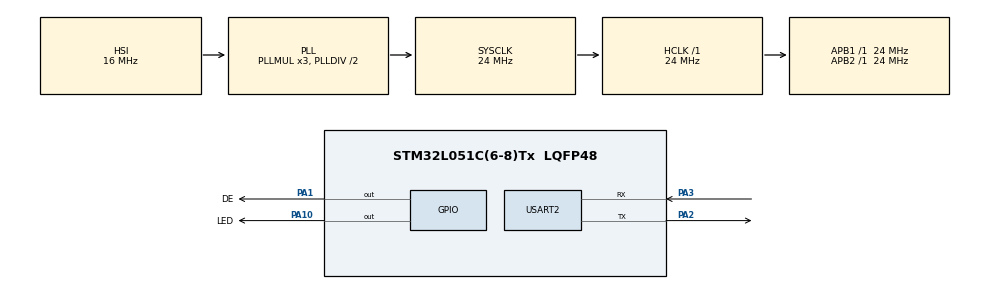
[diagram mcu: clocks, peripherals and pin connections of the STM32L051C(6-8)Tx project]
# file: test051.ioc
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CRC.DefaultPolynomialUse=DEFAULT_POLYNOMIAL_ENABLE
Mcu.Family=STM32L0
Mcu.Name=STM32L051C(6-8)Tx
Mcu.Package=LQFP48
PA1.GPIO_Label=DE
PA1.Signal=GPIO_Output
PA10.GPIO_Label=LED
PA10.Signal=GPIO_Output
PA13.Mode=Serial_Wire
PA13.Signal=SYS_SWDIO
PA14.Mode=Serial_Wire
PA14.Signal=SYS_SWCLK
PA2.GPIO_Speed=GPIO_SPEED_FREQ_LOW
PA2.Mode=Asynchronous
PA2.Signal=USART2_TX
PA3.GPIO_Speed=GPIO_SPEED_FREQ_LOW
PA3.Mode=Asynchronous
PA3.Signal=USART2_RX
ProjectManager.HeapSize=0x200
ProjectManager.StackSize=0x400
ProjectManager.TargetToolchain=STM32CubeIDE
RCC.AHBFreq_Value=24000000
RCC.APB1Freq_Value=24000000
RCC.APB1TimFreq_Value=24000000
RCC.APB2Freq_Value=24000000
RCC.APB2TimFreq_Value=24000000
RCC.HCLKFreq_Value=24000000
RCC.HSE_VALUE=8000000
RCC.HSI16_VALUE=16000000
RCC.HSI_VALUE=16000000
RCC.LSE_VALUE=32768
RCC.MSI_VALUE=2097000
RCC.SYSCLKFreq_VALUE=24000000
RCC.SYSCLKSource=RCC_SYSCLKSOURCE_PLLCLK
RCC.VCOOutputFreq_Value=48000000
USART2.VirtualMode-Asynchronous=VM_ASYNC
VP_CRC_VS_CRC.Mode=CRC_Activate
board=custom

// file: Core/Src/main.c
/* USER CODE BEGIN Header */
/**
  ******************************************************************************
  * @file           : main.c
  * @brief          : Main program body
  ******************************************************************************
  * @attention
  *
  * Copyright (c) 2024 STMicroelectronics.
  * All rights reserved.
  *
  * This software is licensed under terms that can be found in the LICENSE file
  * in the root directory of this software component.
  * If no LICENSE file comes with this software, it is provided AS-IS.
  *
  ******************************************************************************
  */
/* USER CODE END Header */
#include "main.h"
#include "crc.h"
#include "usart.h"
#include "gpio.h"

/* USER CODE BEGIN PTD */
typedef struct{
	uint32_t v[0x10];
} uninitBuff_t;

/* USER CODE END PTD */

/* USER CODE BEGIN PV */
//extern uint8_t _crc[];
uninitBuff_t *uninit;
extern const uint8_t _crcdata[4];
extern const uint8_t _edata[4];

uint32_t  __attribute__((section(".crcdata"))) crclocation;

/* USER CODE END PV */

void SystemClock_Config(void);

int main(void)
{
	/* application */

/* USER CODE BEGIN 1 */
//	rtc= *(uint32_t*)0xE000E010;// disable RTC interrupts
//*vectorTable= (uint32_t )AppAddr; // See Mitchell Jones, https://stackoverflow.com/a/58306399
uint32_t rtc;
uint32_t vtor;
extern char stackAddress[];
	vtor= SCB->VTOR;
	 uninit= (uninitBuff_t *) 0x20000000;

  /* USER CODE END 1 */

  /* MCU Configuration--------------------------------------------------------*/

  /* Reset of all peripherals, Initializes the Flash interface and the Systick. */
	  iwdgStart();
HAL_Init();

  /* Configure the system clock */
  SystemClock_Config();

  /* USER CODE BEGIN SysInit */
  uint32_t vtorreg= *(uint32_t*)0xE000ED08;
  /* USER CODE END SysInit */

  /* Initialize all configured peripherals */
  MX_GPIO_Init();
  MX_USART2_UART_Init();
  MX_CRC_Init();

  /* Infinite loop */
  /* USER CODE BEGIN WHILE */

 //uint32_t crc= *(uint32_t*)crclocation;
  //uint32_t crc2=  *(uint32_t*)_crcdata;
  //uint32_t ed =_edata;
  uint32_t *crcaddr=(uint32_t*)(stackAddress + 0xc0);

  // uint32_t c= *_crc;
  //uint32_t f= *(uint32_t*) _flashend;
  while (1)
  {
	  LED_GPIO_Port->BSRR= LED_Pin;
	  HAL_Delay(50);
	  LED_GPIO_Port->BRR= LED_Pin;
	  HAL_Delay(50);

    /* USER CODE END WHILE */

  }
}

void SystemClock_Config(void)
{
  RCC_OscInitTypeDef RCC_OscInitStruct = {0};
  RCC_ClkInitTypeDef RCC_ClkInitStruct = {0};
  RCC_PeriphCLKInitTypeDef PeriphClkInit = {0};

  /** Configure the main internal regulator output voltage
  */
  __HAL_PWR_VOLTAGESCALING_CONFIG(PWR_REGULATOR_VOLTAGE_SCALE1);

  /** Initializes the RCC Oscillators according to the specified parameters
  * in the RCC_OscInitTypeDef structure.
  */
  RCC_OscInitStruct.OscillatorType = RCC_OSCILLATORTYPE_HSI;
  RCC_OscInitStruct.HSIState = RCC_HSI_ON;
  RCC_OscInitStruct.HSICalibrationValue = RCC_HSICALIBRATION_DEFAULT;
  RCC_OscInitStruct.PLL.PLLState = RCC_PLL_ON;
  RCC_OscInitStruct.PLL.PLLSource = RCC_PLLSOURCE_HSI;
  RCC_OscInitStruct.PLL.PLLMUL = RCC_PLLMUL_3;
  RCC_OscInitStruct.PLL.PLLDIV = RCC_PLLDIV_2;
  if (HAL_RCC_OscConfig(&RCC_OscInitStruct) != HAL_OK)
  {
    Error_Handler();
  }

  /** Initializes the CPU, AHB and APB buses clocks
  */
  RCC_ClkInitStruct.ClockType = RCC_CLOCKTYPE_HCLK|RCC_CLOCKTYPE_SYSCLK
                              |RCC_CLOCKTYPE_PCLK1|RCC_CLOCKTYPE_PCLK2;
  RCC_ClkInitStruct.SYSCLKSource = RCC_SYSCLKSOURCE_PLLCLK;
  RCC_ClkInitStruct.AHBCLKDivider = RCC_SYSCLK_DIV1;
  RCC_ClkInitStruct.APB1CLKDivider = RCC_HCLK_DIV1;
  RCC_ClkInitStruct.APB2CLKDivider = RCC_HCLK_DIV1;

  if (HAL_RCC_ClockConfig(&RCC_ClkInitStruct, FLASH_LATENCY_1) != HAL_OK)
  {
    Error_Handler();
  }
  PeriphClkInit.PeriphClockSelection = RCC_PERIPHCLK_USART2;
  PeriphClkInit.Usart2ClockSelection = RCC_USART2CLKSOURCE_PCLK1;
  if (HAL_RCCEx_PeriphCLKConfig(&PeriphClkInit) != HAL_OK)
  {
    Error_Handler();
  }
}

void Error_Handler(void)
{
  __disable_irq();
  while (1)
  {
  }
}
